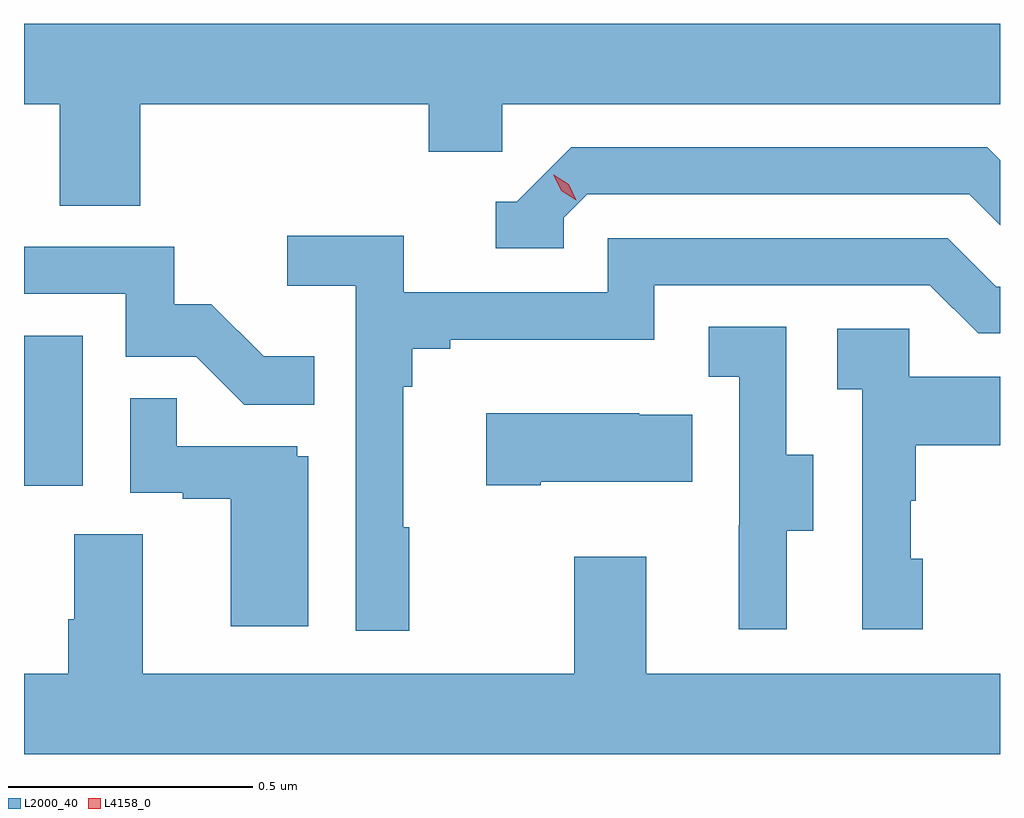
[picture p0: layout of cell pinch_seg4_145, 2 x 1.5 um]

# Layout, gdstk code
import gdstk
lib = gdstk.Library(unit=1e-6, precision=1e-09)
def R(c, l, rs):  # rectangles x0, y0, x1, y1
    for r in rs: c.add(gdstk.rectangle(r[:2], r[2:], *l))
def P(c, l, *ps):  # polygons
    for p in ps: c.add(gdstk.Polygon(p, *l))
L2000_40 = (2000, 40)
L4158_0 = (4158, 0)

pinch_seg4_145 = lib.new_cell('pinch_seg4_145')
R(pinch_seg4_145, L2000_40, [(1118.632,809.358,1118.752,809.665)])
P(pinch_seg4_145, L2000_40, [(1118.87,810.14),(1119.461,810.14),(1119.461,810.042),(1119.612,810.042),(1119.612,810.14),(1120.632,810.14),(1120.632,810.304),(1118.632,810.304),(1118.632,810.14),(1118.705,810.14),(1118.705,809.932),(1118.87,809.932)],
  [(1119.738,809.907),(1119.786,809.955),(1120.569,809.955),(1120.632,809.892),(1120.632,810.025),(1120.606,810.051),(1119.753,810.051),(1119.642,809.94),(1119.599,809.94),(1119.599,809.844),(1119.738,809.844)],
  [(1119.421,809.273),(1119.409,809.273),(1119.409,809.561),(1119.428,809.561),(1119.428,809.638),(1119.505,809.638),(1119.505,809.657),(1119.924,809.657),(1119.924,809.769),(1120.488,809.769),(1120.587,809.67),(1120.632,809.67),(1120.632,809.766),(1120.624,809.766),(1120.525,809.865),(1119.828,809.865),(1119.828,809.754),(1119.41,809.754),(1119.41,809.87),(1119.171,809.87),(1119.171,809.768),(1119.312,809.768),(1119.312,809.061),(1119.421,809.061)],
  [(1119.227,809.623),(1119.123,809.623),(1119.016,809.73),(1118.94,809.73),(1118.94,809.847),(1118.632,809.847),(1118.632,809.751),(1118.841,809.751),(1118.841,809.622),(1118.985,809.622),(1119.083,809.524),(1119.227,809.524)],
  [(1120.195,809.266),(1120.249,809.266),(1120.249,809.421),(1120.194,809.421),(1120.194,809.684),(1120.035,809.684),(1120.035,809.581),(1120.098,809.581),(1120.098,809.277),(1120.097,809.277),(1120.097,809.064),(1120.195,809.064)],
  [(1120.474,809.208),(1120.449,809.208),(1120.449,809.327),(1120.459,809.327),(1120.459,809.441),(1120.632,809.441),(1120.632,809.581),(1120.446,809.581),(1120.446,809.679),(1120.299,809.679),(1120.299,809.555),(1120.35,809.555),(1120.35,809.064),(1120.474,809.064)],
  [(1119.214,809.418),(1119.192,809.418),(1119.192,809.439),(1118.945,809.439),(1118.945,809.537),(1118.85,809.537),(1118.85,809.343),(1118.957,809.343),(1118.957,809.331),(1119.056,809.331),(1119.056,809.07),(1119.214,809.07)],
  [(1119.691,809.366),(1120.001,809.366),(1120.001,809.503),(1119.893,809.503),(1119.893,809.506),(1119.579,809.506),(1119.579,809.359),(1119.691,809.359)],
  [(1120.632,808.972),(1119.907,808.972),(1119.907,809.212),(1119.76,809.212),(1119.76,808.972),(1118.875,808.972),(1118.875,809.258),(1118.735,809.258),(1118.735,809.084),(1118.723,809.084),(1118.723,808.972),(1118.632,808.972),(1118.632,808.808),(1120.632,808.808)])
P(pinch_seg4_145, L4158_0, [(1119.764,809.943),(1119.733,809.962),(1119.717,809.995),(1119.717,809.995),(1119.718,809.995),(1119.748,809.976),(1119.764,809.943),(1119.764,809.943)])

lib.write_gds('pinch_seg4_145.gds')
